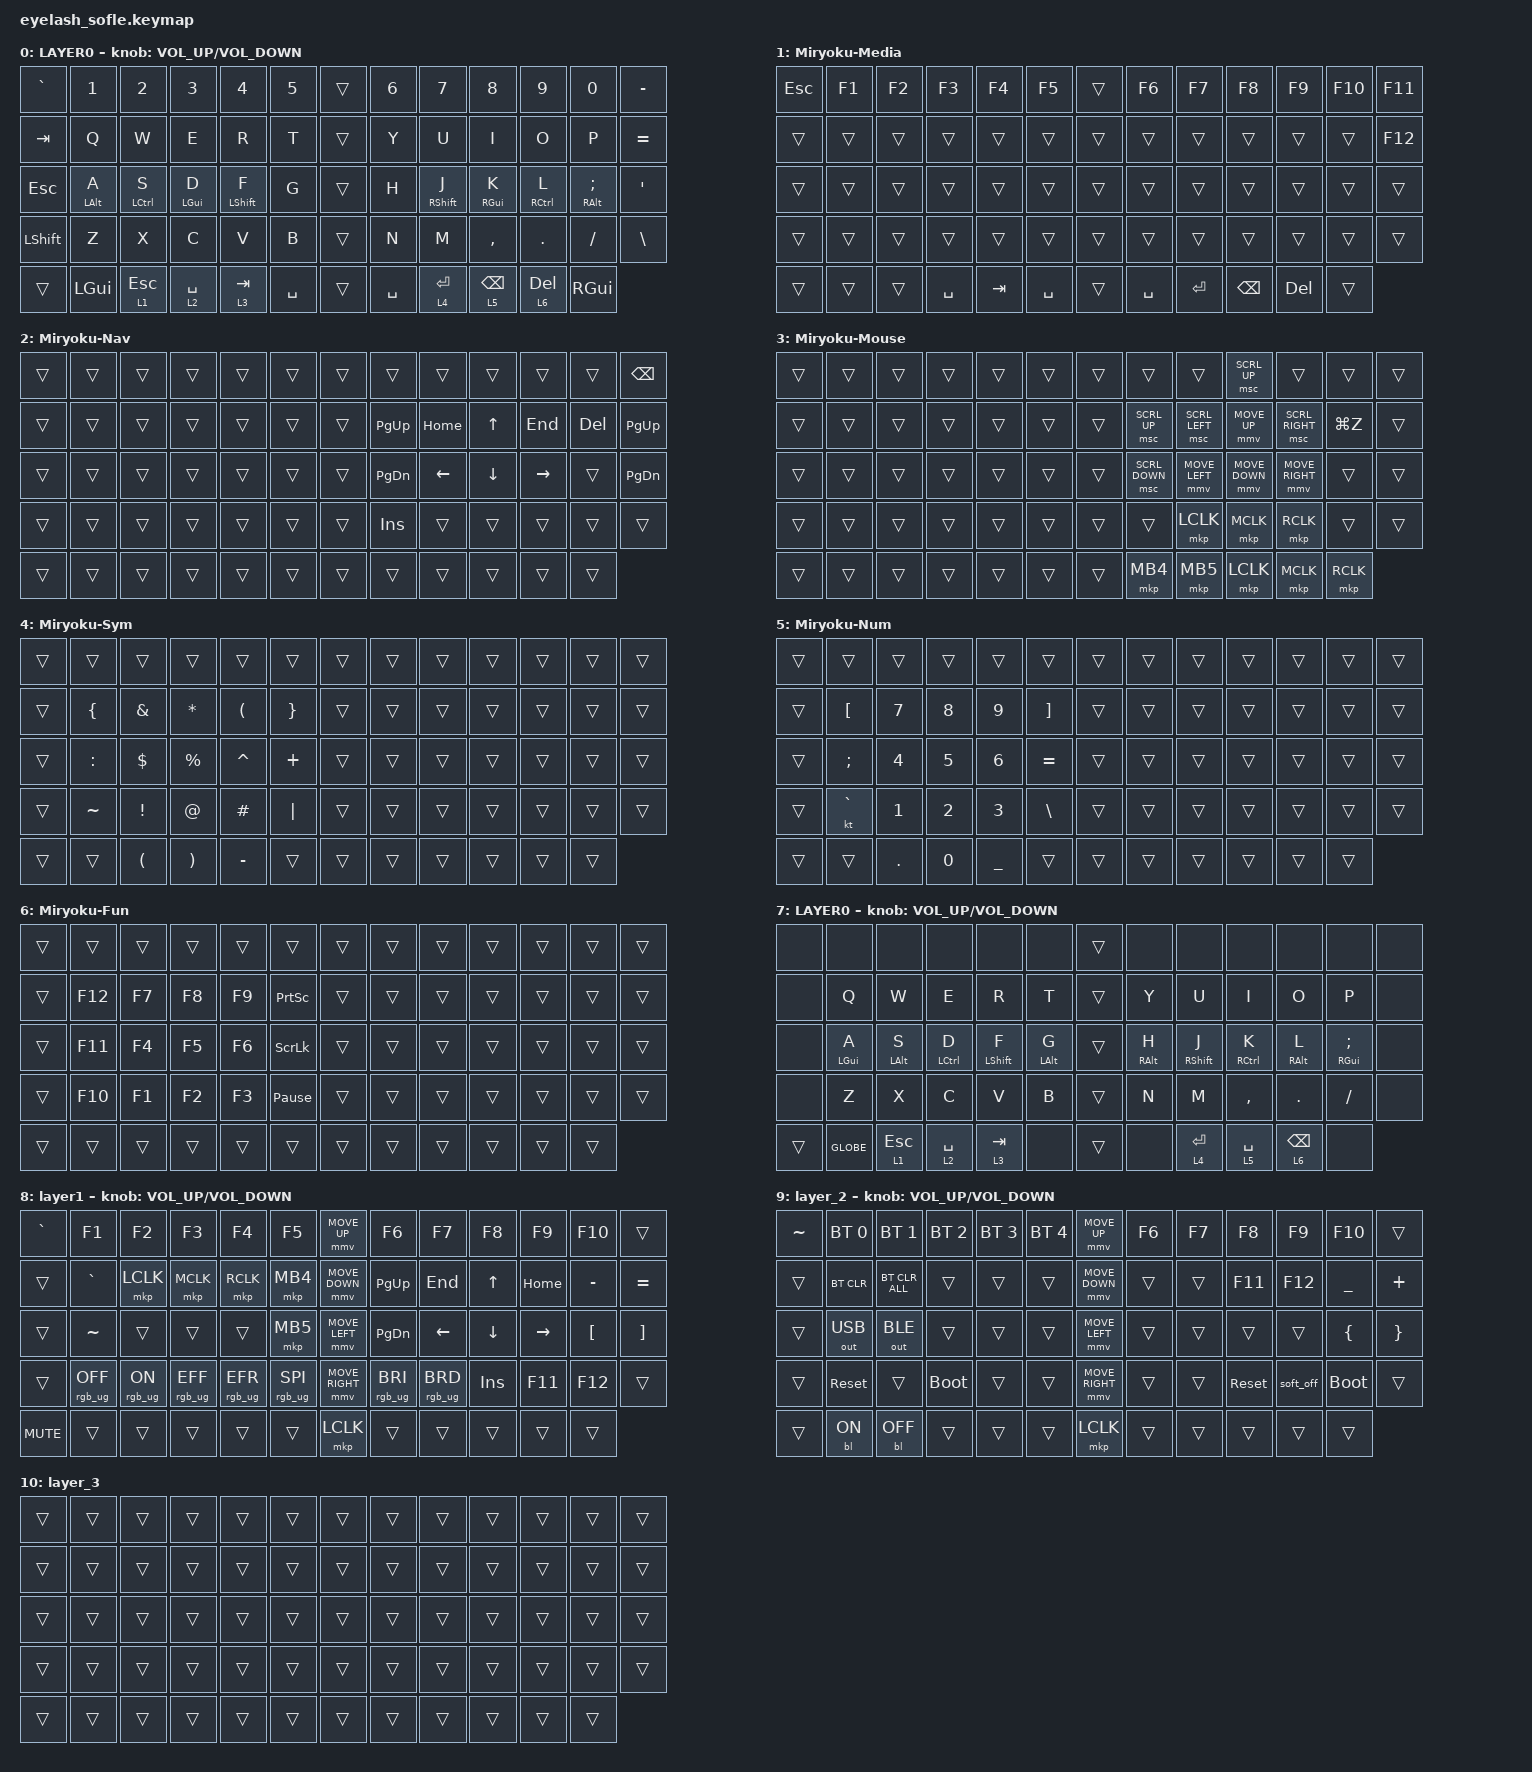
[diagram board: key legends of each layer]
#define ZMK_POINTING_DEFAULT_MOVE_VAL 1200  // 600
#define ZMK_POINTING_DEFAULT_SCRL_VAL 25   // 10

#include <input/processors.dtsi>
#include <zephyr/dt-bindings/input/input-event-codes.h>
#include <behaviors.dtsi>
#include <dt-bindings/zmk/backlight.h>
#include <dt-bindings/zmk/bt.h>
#include <dt-bindings/zmk/keys.h>
#include <dt-bindings/zmk/outputs.h>
#include <dt-bindings/zmk/pointing.h>
#include <dt-bindings/zmk/rgb.h>

&mmv_input_listener { input-processors = <&zip_xy_scaler 2 1>; };

&msc_input_listener { input-processors = <&zip_scroll_scaler 2 1>; };

&mt {
    tapping-term-ms = <220>;
    quick-tap-ms = <0>;
    flavor = "balanced";
};

&lt {
    flavor = "tap-preferred";
    tapping-term-ms = <220>;
};

/ {
    combos {
        compatible = "zmk,combos";

        bl_enc {
            bindings = <&kp ESCAPE>;
            key-positions = <0 1 0 1>;
        };
    };

    keymap {
        compatible = "zmk,keymap";

        layer_10 {
            display-name = "LAYER0";
            bindings = <
&kp GRAVE       &kp NUMBER_1    &kp NUMBER_2        &kp NUMBER_3    &kp NUMBER_4      &kp N5       &trans  &kp NUMBER_6  &kp N7             &kp N8           &kp N9               &kp N0              &kp MINUS
&kp TAB         &kp Q           &kp W               &kp E           &kp R             &kp T        &trans  &kp Y         &kp U              &kp I            &kp O                &kp P               &kp EQUAL
&kp ESCAPE      &mt LEFT_ALT A  &mt LEFT_CONTROL S  &mt LEFT_GUI D  &mt LEFT_SHIFT F  &kp G        &trans  &kp H         &mt RIGHT_SHIFT J  &mt RIGHT_GUI K  &mt RIGHT_CONTROL L  &mt RIGHT_ALT SEMI  &kp SINGLE_QUOTE
&kp LEFT_SHIFT  &kp Z           &kp X               &kp C           &kp V             &kp B        &trans  &kp N         &kp M              &kp COMMA        &kp DOT              &kp FSLH            &kp BACKSLASH
&trans          &kp LEFT_GUI    &lt 1 ESCAPE        &lt 2 SPACE     &lt 3 TAB         &kp SPACE    &trans  &kp SPACE     &lt 4 ENTER        &lt 5 BACKSPACE  &lt 6 DELETE         &kp RIGHT_GUI
            >;

            sensor-bindings = <&inc_dec_kp C_VOLUME_UP C_VOLUME_DOWN>;
        };

        Miryoku-Media {
            bindings = <
&kp ESCAPE  &kp F1  &kp F2  &kp F3     &kp F4   &kp F5       &trans  &kp F6     &kp F7     &kp F8         &kp F9      &kp F10  &kp F11
&trans      &trans  &trans  &trans     &trans   &trans       &trans  &trans     &trans     &trans         &trans      &trans   &kp F12
&trans      &trans  &trans  &trans     &trans   &trans       &trans  &trans     &trans     &trans         &trans      &trans   &trans
&trans      &trans  &trans  &trans     &trans   &trans       &trans  &trans     &trans     &trans         &trans      &trans   &trans
&trans      &trans  &trans  &kp SPACE  &kp TAB  &kp SPACE    &trans  &kp SPACE  &kp ENTER  &kp BACKSPACE  &kp DELETE  &trans
            >;
        };

        Miryoku-Nav {
            bindings = <
&trans  &trans  &trans  &trans  &trans  &trans    &trans  &trans         &trans    &trans        &trans     &trans      &kp BACKSPACE
&trans  &trans  &trans  &trans  &trans  &trans    &trans  &kp PAGE_UP    &kp HOME  &kp UP_ARROW  &kp END    &kp DELETE  &kp PAGE_UP
&trans  &trans  &trans  &trans  &trans  &trans    &trans  &kp PAGE_DOWN  &kp LEFT  &kp DOWN      &kp RIGHT  &trans      &kp PAGE_DOWN
&trans  &trans  &trans  &trans  &trans  &trans    &trans  &kp INSERT     &trans    &trans        &trans     &trans      &trans
&trans  &trans  &trans  &trans  &trans  &trans    &trans  &trans         &trans    &trans        &trans     &trans
            >;
        };

        Miryoku-Mouse {
            bindings = <
&trans  &trans  &trans  &trans  &trans  &trans    &trans  &trans          &trans          &msc SCRL_UP    &trans           &trans     &trans
&trans  &trans  &trans  &trans  &trans  &trans    &trans  &msc SCRL_UP    &msc SCRL_LEFT  &mmv MOVE_UP    &msc SCRL_RIGHT  &kp LG(Z)  &trans
&trans  &trans  &trans  &trans  &trans  &trans    &trans  &msc SCRL_DOWN  &mmv MOVE_LEFT  &mmv MOVE_DOWN  &mmv MOVE_RIGHT  &trans     &trans
&trans  &trans  &trans  &trans  &trans  &trans    &trans  &trans          &mkp LCLK       &mkp MCLK       &mkp RCLK        &trans     &trans
&trans  &trans  &trans  &trans  &trans  &trans    &trans  &mkp MB4        &mkp MB5        &mkp LCLK       &mkp MCLK        &mkp RCLK
            >;
        };

        Miryoku-Sym {
            bindings = <
&trans  &trans          &trans                &trans                 &trans                &trans             &trans  &trans  &trans  &trans  &trans  &trans  &trans
&trans  &kp LEFT_BRACE  &kp AMPERSAND         &kp ASTERISK           &kp LEFT_PARENTHESIS  &kp RIGHT_BRACE    &trans  &trans  &trans  &trans  &trans  &trans  &trans
&trans  &kp COLON       &kp DOLLAR            &kp PERCENT            &kp CARET             &kp PLUS           &trans  &trans  &trans  &trans  &trans  &trans  &trans
&trans  &kp TILDE       &kp EXCLAMATION       &kp AT_SIGN            &kp HASH              &kp PIPE           &trans  &trans  &trans  &trans  &trans  &trans  &trans
&trans  &trans          &kp LEFT_PARENTHESIS  &kp RIGHT_PARENTHESIS  &kp MINUS             &trans             &trans  &trans  &trans  &trans  &trans  &trans
            >;
        };

        Miryoku-Num {
            bindings = <
&trans  &trans            &trans        &trans        &trans          &trans               &trans  &trans  &trans  &trans  &trans  &trans  &trans
&trans  &kp LEFT_BRACKET  &kp NUMBER_7  &kp NUMBER_8  &kp NUMBER_9    &kp RIGHT_BRACKET    &trans  &trans  &trans  &trans  &trans  &trans  &trans
&trans  &kp SEMICOLON     &kp NUMBER_4  &kp NUMBER_5  &kp NUMBER_6    &kp EQUAL            &trans  &trans  &trans  &trans  &trans  &trans  &trans
&trans  &kt GRAVE         &kp NUMBER_1  &kp NUMBER_2  &kp NUMBER_3    &kp BACKSLASH        &trans  &trans  &trans  &trans  &trans  &trans  &trans
&trans  &trans            &kp PERIOD    &kp NUMBER_0  &kp UNDERSCORE  &trans               &trans  &trans  &trans  &trans  &trans  &trans
            >;
        };

        Miryoku-Fun {
            bindings = <
&trans  &trans   &trans  &trans  &trans  &trans             &trans  &trans  &trans  &trans  &trans  &trans  &trans
&trans  &kp F12  &kp F7  &kp F8  &kp F9  &kp PRINTSCREEN    &trans  &trans  &trans  &trans  &trans  &trans  &trans
&trans  &kp F11  &kp F4  &kp F5  &kp F6  &kp SCROLLLOCK     &trans  &trans  &trans  &trans  &trans  &trans  &trans
&trans  &kp F10  &kp F1  &kp F2  &kp F3  &kp PAUSE_BREAK    &trans  &trans  &trans  &trans  &trans  &trans  &trans
&trans  &trans   &trans  &trans  &trans  &trans             &trans  &trans  &trans  &trans  &trans  &trans
            >;
        };

        layer0 {
            bindings = <
&none   &none           &none           &none               &none             &none             &trans  &none            &none              &none                &none            &none               &none
&none   &kp Q           &kp W           &kp E               &kp R             &kp T             &trans  &kp Y            &kp U              &kp I                &kp O            &kp P               &none
&none   &mt LEFT_GUI A  &mt LEFT_ALT S  &mt LEFT_CONTROL D  &mt LEFT_SHIFT F  &mt LEFT_ALT G    &trans  &mt RIGHT_ALT H  &mt RIGHT_SHIFT J  &mt RIGHT_CONTROL K  &mt RIGHT_ALT L  &mt RIGHT_GUI SEMI  &none
&none   &kp Z           &kp X           &kp C               &kp V             &kp B             &trans  &kp N            &kp M              &kp COMMA            &kp DOT          &kp FSLH            &none
&trans  &kp GLOBE       &lt 1 ESC       &lt 2 SPACE         &lt 3 TAB         &none             &trans  &none            &lt 4 ENTER        &lt 5 SPACE          &lt 6 BACKSPACE  &none
            >;

            display-name = "LAYER0";
            sensor-bindings = <&inc_dec_kp C_VOLUME_UP C_VOLUME_DOWN>;
        };

        layer_1 {
            bindings = <
&kp GRAVE   &kp F1           &kp F2          &kp F3           &kp F4           &kp F5             &mmv MOVE_UP     &kp F6           &kp F7           &kp F8      &kp F9     &kp F10           &trans
&trans      &kp GRAVE        &mkp LCLK       &mkp MCLK        &mkp RCLK        &mkp MB4           &mmv MOVE_DOWN   &kp PG_UP        &kp END          &kp UP      &kp HOME   &kp MINUS         &kp EQUAL
&trans      &kp TILDE        &trans          &trans           &trans           &mkp MB5           &mmv MOVE_LEFT   &kp PG_DN        &kp LEFT         &kp DOWN    &kp RIGHT  &kp LEFT_BRACKET  &kp RIGHT_BRACKET
&trans      &rgb_ug RGB_OFF  &rgb_ug RGB_ON  &rgb_ug RGB_EFF  &rgb_ug RGB_EFR  &rgb_ug RGB_SPI    &mmv MOVE_RIGHT  &rgb_ug RGB_BRI  &rgb_ug RGB_BRD  &kp INSERT  &kp F11    &kp F12           &trans
&kp C_MUTE  &trans           &trans          &trans           &trans           &trans             &mkp LCLK        &trans           &trans           &trans      &trans     &trans
            >;

            display-name = "layer1";
            sensor-bindings = <&inc_dec_kp C_VOLUME_UP C_VOLUME_DOWN>;
        };

        layer_2 {
            bindings = <
&kp TILDE  &bt BT_SEL 0  &bt BT_SEL 1    &bt BT_SEL 2  &bt BT_SEL 3  &bt BT_SEL 4    &mmv MOVE_UP     &kp F6  &kp F7  &kp F8      &kp F9     &kp F10      &trans
&trans     &bt BT_CLR    &bt BT_CLR_ALL  &trans        &trans        &trans          &mmv MOVE_DOWN   &trans  &trans  &kp F11     &kp F12    &kp UNDER    &kp PLUS
&trans     &out OUT_USB  &out OUT_BLE    &trans        &trans        &trans          &mmv MOVE_LEFT   &trans  &trans  &trans      &trans     &kp LBRC     &kp RBRC
&trans     &sys_reset    &trans          &bootloader   &trans        &trans          &mmv MOVE_RIGHT  &trans  &trans  &sys_reset  &soft_off  &bootloader  &trans
&trans     &bl BL_ON     &bl BL_OFF      &trans        &trans        &trans          &mkp LCLK        &trans  &trans  &trans      &trans     &trans
            >;

            sensor-bindings = <&inc_dec_kp C_VOLUME_UP C_VOLUME_DOWN>;
        };

        layer_3 {
            bindings = <
&trans  &trans  &trans  &trans  &trans  &trans    &trans  &trans  &trans  &trans  &trans  &trans  &trans
&trans  &trans  &trans  &trans  &trans  &trans    &trans  &trans  &trans  &trans  &trans  &trans  &trans
&trans  &trans  &trans  &trans  &trans  &trans    &trans  &trans  &trans  &trans  &trans  &trans  &trans
&trans  &trans  &trans  &trans  &trans  &trans    &trans  &trans  &trans  &trans  &trans  &trans  &trans
&trans  &trans  &trans  &trans  &trans  &trans    &trans  &trans  &trans  &trans  &trans  &trans
            >;
        };
    };
};
